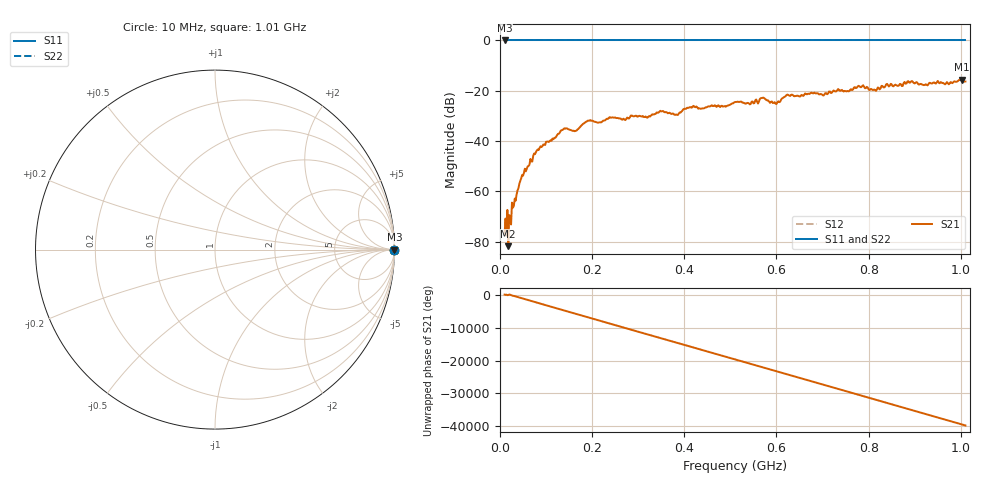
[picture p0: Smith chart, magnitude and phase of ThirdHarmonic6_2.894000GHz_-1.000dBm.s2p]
! 8/17/2025 7:58:42 AM
! C:\ANRITSUVNA\TEMP\TEMP.S2P
! CHANNEL.1
! TR.MEASUREMENT
! RAW.DATA
! RF.CORRECTION.OFF
! AVERAGING.OFF
! IF.BANDWIDTH: 5KHZ
! SWEEPTYPE:  FREQ.SWEEP(Linear)
! Reference Plane Port Info
! PORT:  PORT1  PORT2
! DISTANCE:  0  m  0  m
! TIME:  0  s  0  s
! PHASE.OFFSET:  0  deg.  0  deg.
! LOSS:  0  dB  0  dB
! REF.LOSS:  0  dB  0  dB
! REF.FREQ:  0  Hz  0  Hz
! Power Info
! POWER:  -20  dBm  -20  dBm
! EFF.POWER:  -20  dBm  -20  dBm
! SOURCE.ATTEN:  0  dB  0  dB
! TEST.ATTEN:  0  dB  0  dB
# GHZ S RI R 50.0
! FREQ.GHZ  S11RE  S11IM  S21RE  S21IM  S12RE  S12IM  S22RE  S22IM
!; PortSelection: Port_12
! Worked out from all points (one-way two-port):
!   501 points, 10 MHz to 1.01 GHz, reference 50 ohm
!   highest |S21| = -15.62 dB at 1.002 GHz (marker M1); lowest = -81.8 dB at 18 MHz (marker M2)
!   lowest |S11| = 0.0 dB at 10 MHz (marker M3)
!   |S11| at or under -10 dB: nowhere
!   |S22| runs from 0.0 to 0.0 dB; largest |S21 - S12| = 1.2
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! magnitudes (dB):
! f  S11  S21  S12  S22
! 10 MHz  0.0  -76.8  0.0  0.0
! 18 MHz  0.0  -81.8  0.0  0.0
! 46 MHz  0.0  -54.8  0.0  0.0
! 78 MHz  0.0  -44.4  0.0  0.0
! 136 MHz  0.0  -35.6  0.0  0.0
! 162 MHz  0.0  -36.1  0.0  0.0
! 178 MHz  0.0  -33.6  0.0  0.0
! 194 MHz  0.0  -31.9  0.0  0.0
! 344 MHz  0.0  -28.7  0.0  0.0
! 382 MHz  0.0  -29.4  0.0  0.0
! 416 MHz  0.0  -26.7  0.0  0.0
! 510 MHz  0.0  -24.5  0.0  0.0
! 540 MHz  0.0  -25.0  0.0  0.0
! 570 MHz  0.0  -22.8  0.0  0.0
! 596 MHz  0.0  -24.5  0.0  0.0
! 622 MHz  0.0  -21.7  0.0  0.0
! 678 MHz  0.0  -21.0  0.0  0.0
! 784 MHz  0.0  -18.6  0.0  0.0
! 814 MHz  0.0  -19.7  0.0  0.0
! 844 MHz  0.0  -18.3  0.0  0.0
! 1.002 GHz  0.0  -15.6  0.0  0.0
! 1.01 GHz  0.0  -16.3  0.0  0.0
